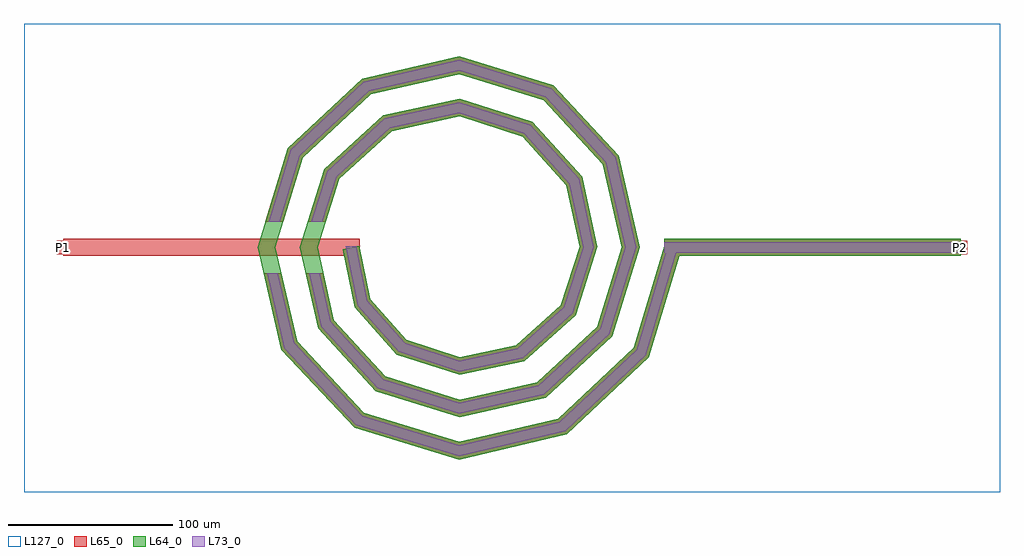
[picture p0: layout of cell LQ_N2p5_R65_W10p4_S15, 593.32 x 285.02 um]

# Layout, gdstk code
import gdstk
lib = gdstk.Library(unit=1e-6, precision=1e-09)
def R(c, l, rs):  # rectangles x0, y0, x1, y1
    for r in rs: c.add(gdstk.rectangle(r[:2], r[2:], *l))
def P(c, l, *ps):  # polygons
    for p in ps: c.add(gdstk.Polygon(p, *l))
L64_0 = (64, 0)
L65_0 = (65, 0)
L73_0 = (73, 0)
L127_0 = (127, 0)

lq_n2p5_r65_w10p4_s15 = lib.new_cell('LQ_N2p5_R65_W10p4_S15')
R(lq_n2p5_r65_w10p4_s15, L64_0, [(124.777,-5.2,304.777,5.2)])
P(lq_n2p5_r65_w10p4_s15, L64_0, [(-53.979,-31.53),(-32.061,-56.144),(0.298,-66.794),(34.717,-59.554),(61.693,-35.294),(73.215,0.273),(65.127,37.909),(38.524,67.244),(0.253,79.637),(-41.103,70.699),(-72.796,41.751),(-86.06,0.235),(-76.269,-44.299),(-44.976,-78.35),(0.22,-92.482),(47.498,-81.838),(83.905,-48.2),(98.905,0.206),(87.407,50.698),(51.422,89.461),(0.194,105.327),(-53.899,92.975),(-95.018,54.643),(-111.75,0.184),(-98.542,-57.101),(-57.862,-100.575),(0.174,-118.173),(60.305,-104.109),(106.133,-61.082),(124.998,1.501),(134.955,-1.501),(115.285,-66.754),(65.39,-113.6),(0.174,-128.935),(-63.55,-109.718),(-108.042,-62.17),(-122.511,0.184),(-104.15,60.347),(-58.95,102.485),(0.194,116.088),(57.145,98.582),(96.928,55.728),(109.665,0.206),(93.013,-53.944),(52.505,-91.371),(0.22,-103.241),(-50.745,-87.443),(-85.816,-49.281),(-96.818,0.235),(-81.872,47.547),(-46.054,80.261),(0.253,90.394),(44.351,76.3),(74.708,42.825),(83.97,0.273),(70.726,-41.158),(39.593,-69.156),(0.298,-77.546),(-37.968,-65.149),(-63.606,-36.358),(-70.841,-1.044),(-60.653,1.044)])
R(lq_n2p5_r65_w10p4_s15, L65_0, [(-240.547,-5.2,-60.547,5.2), (124.777,-5.2,304.777,5.2), (-244.547,-4,-236.547,4), (300.777,-4,308.777,4)])
P(lq_n2p5_r65_w10p4_s15, L65_0, [(-98.542,-57.102),(-57.863,-100.575),(0.174,-118.173),(60.305,-104.109),(106.133,-61.082),(124.998,1.501),(134.955,-1.501),(115.285,-66.754),(65.39,-113.6),(0.174,-128.935),(-63.55,-109.718),(-108.042,-62.17),(-118.849,-15.6),(-108.173,-15.6)],
  [(-76.269,-44.299),(-44.976,-78.35),(0.22,-92.482),(47.498,-81.838),(83.905,-48.2),(98.905,0.206),(87.407,50.698),(51.422,89.461),(0.194,105.327),(-53.899,92.975),(-95.018,54.643),(-106.933,15.6),(-117.807,15.6),(-104.15,60.347),(-58.95,102.485),(0.194,116.088),(57.145,98.582),(96.928,55.728),(109.665,0.206),(93.013,-53.944),(52.505,-91.371),(0.22,-103.241),(-50.745,-87.443),(-85.816,-49.281),(-93.299,-15.6),(-82.646,-15.6)],
  [(-32.061,-56.145),(0.298,-66.794),(34.717,-59.554),(61.693,-35.294),(73.215,0.273),(65.127,37.909),(38.524,67.244),(0.253,79.638),(-41.103,70.699),(-72.796,41.751),(-81.058,15.6),(-91.964,15.6),(-81.872,47.547),(-46.054,80.261),(0.253,90.394),(44.351,76.3),(74.708,42.825),(83.97,0.273),(70.726,-41.158),(39.593,-69.156),(0.298,-77.546),(-37.968,-65.149),(-63.606,-36.358),(-70.841,-1.044),(-60.653,1.044),(-53.979,-31.53)])
R(lq_n2p5_r65_w10p4_s15, L73_0, [(124.777,-3.2,304.777,3.2)])
P(lq_n2p5_r65_w10p4_s15, L73_0, [(-100.369,-58.076),(-58.956,-102.333),(0.107,-120.242),(61.283,-105.934),(107.893,-62.172),(126.913,0.924),(133.04,0.924),(113.525,-65.663),(64.412,-111.775),(0.107,-126.865),(-62.456,-107.96),(-106.215,-61.195),(-116.796,-15.6),(-110.226,-15.6)],
  [(-78.105,-45.257),(-46.086,-80.099),(0.135,-94.551),(48.461,-83.672),(85.657,-49.304),(100.974,0.127),(89.238,51.665),(52.522,91.215),(0.12,107.397),(-54.87,94.804),(-96.774,55.74),(-109.024,15.6),(-115.716,15.6),(-102.394,59.25),(-57.978,100.656),(0.12,114.019),(56.044,96.828),(95.097,54.761),(107.596,0.127),(91.262,-52.839),(51.542,-89.538),(0.135,-101.172),(-49.635,-85.694),(-83.98,-48.323),(-91.251,-15.6),(-84.695,-15.6)],
  [(-33.197,-57.876),(0.183,-68.861),(35.655,-61.401),(63.43,-36.422),(75.284,0.168),(66.97,38.854),(39.644,68.985),(0.156,81.706),(-42.055,72.538),(-74.542,42.866),(-83.155,15.6),(-89.867,15.6),(-80.127,46.432),(-45.102,78.422),(0.156,88.326),(43.23,74.558),(72.866,41.88),(81.902,0.168),(68.989,-40.03),(38.656,-67.31),(0.183,-75.478),(-36.832,-63.418),(-61.755,-35.429),(-68.882,0.642),(-62.612,0.642),(-55.831,-32.459)])
R(lq_n2p5_r65_w10p4_s15, L127_0, [(-264.547,-148.935,328.777,136.088)])
lq_n2p5_r65_w10p4_s15.add(gdstk.Label('P2', (304.777,0), layer=65, texttype=0))
lq_n2p5_r65_w10p4_s15.add(gdstk.Label('P1', (-240.547,0), layer=65, texttype=0))
lq_n2p5_r65_w10p4_s15.add(gdstk.Label('P2', (308.777,0), layer=145, texttype=0))
lq_n2p5_r65_w10p4_s15.add(gdstk.Label('P1', (-244.547,0), layer=145, texttype=0))

lib.write_gds('LQ_N2p5_R65_W10p4_S15.gds')
